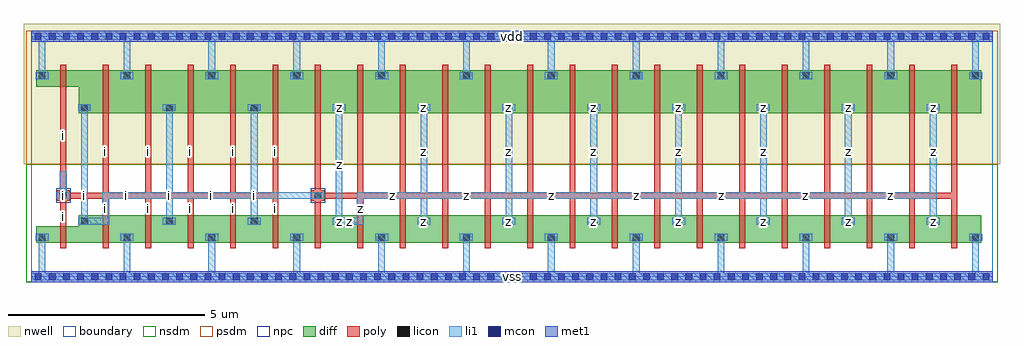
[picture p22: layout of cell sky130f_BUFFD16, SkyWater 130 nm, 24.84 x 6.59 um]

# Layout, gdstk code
import gdstk
lib = gdstk.Library(unit=1e-6, precision=1e-09)
def R(c, l, rs):  # rectangles x0, y0, x1, y1
    for r in rs: c.add(gdstk.rectangle(r[:2], r[2:], *l))
def A(c, l, x, y, w, h, nx, ny, dx, dy):  # array of equal rectangles
    R(c, l, [(x+i*dx, y+j*dy, x+i*dx+w, y+j*dy+h) for i in range(nx) for j in range(ny)])
L0_0 = (0, 0)
nwell = (64, 20)
diff = (65, 20)
poly = (66, 20)
licon = (66, 44)
li1 = (67, 20)
mcon = (67, 44)
met1 = (68, 20)
nsdm = (93, 44)
psdm = (94, 20)
npc = (95, 20)
boundary = (235, 4)

sky130f_buffd16 = lib.new_cell('sky130f_BUFFD16')
R(sky130f_buffd16, nwell, [(-0.18,2.86,24.66,6.445)])
A(sky130f_buffd16, diff, 0.135, 0.86, 0.29, 0.29, 12, 2, 2.16, 4.11)
A(sky130f_buffd16, diff, 1.215, 0.86, 1.37, 0.7, 21, 1, 1.08, 0)
A(sky130f_buffd16, diff, 1.215, 1.27, 0.29, 0.29, 11, 2, 2.16, 2.89)
A(sky130f_buffd16, diff, 1.215, 4.16, 1.37, 1.1, 21, 1, 1.08, 0)
R(sky130f_buffd16, diff, [(0.135,0.86,1.505,1.28), (0.135,4.84,1.505,5.26)])
A(sky130f_buffd16, poly, 1.825, 0.73, 0.15, 0.96, 21, 1, 1.08, 0)
A(sky130f_buffd16, poly, 1.825, 1.34, 0.15, 0.8, 21, 1, 1.08, 0)
A(sky130f_buffd16, poly, 0.745, 1.99, 1.23, 0.15, 5, 1, 1.08, 0)
A(sky130f_buffd16, poly, 1.825, 1.99, 0.15, 2.39, 21, 1, 1.08, 0)
A(sky130f_buffd16, poly, 7.225, 1.99, 1.23, 0.15, 15, 1, 1.08, 0)
A(sky130f_buffd16, poly, 1.825, 4.03, 0.15, 1.36, 21, 1, 1.08, 0)
R(sky130f_buffd16, poly, [(0.745,0.73,0.895,1.41), (0.745,0.93,0.895,2.14), (0.655,1.93,0.985,2.2), (7.135,1.93,7.465,2.2), (0.745,1.99,0.895,5.19), (0.745,4.71,0.895,5.39)])
A(sky130f_buffd16, licon, 0.195, 0.92, 0.17, 0.17, 12, 2, 2.16, 4.11)
A(sky130f_buffd16, licon, 1.275, 1.33, 0.17, 0.17, 11, 2, 2.16, 2.89)
R(sky130f_buffd16, licon, [(0.735,1.98,0.905,2.15), (7.215,1.98,7.385,2.15)])
A(sky130f_buffd16, li1, 0.195, 0.06, 0.17, 1.03, 12, 2, 2.16, 4.97)
A(sky130f_buffd16, li1, 0.115, 0.92, 0.33, 0.17, 12, 2, 2.16, 4.11)
A(sky130f_buffd16, li1, 1.195, 1.33, 0.33, 0.17, 11, 2, 2.16, 2.89)
A(sky130f_buffd16, li1, 9.915, 1.33, 0.17, 0.82, 7, 1, 2.16, 0)
A(sky130f_buffd16, li1, 9.915, 1.98, 0.17, 2.41, 7, 1, 2.16, 0)
A(sky130f_buffd16, li1, 9.915, 1.98, 2.33, 0.17, 6, 1, 2.16, 0)
R(sky130f_buffd16, li1, [(0,-0.085,24.48,0.085), (1.275,1.33,1.445,4.39), (1.275,1.33,1.985,1.5), (1.815,1.33,1.985,2.15), (3.435,1.33,3.605,2.15), (5.595,1.33,5.765,2.15), (7.755,1.33,7.925,4.39), (7.755,1.33,8.465,1.5), (8.295,1.33,8.465,2.15), (0.655,1.98,0.985,2.15), (0.735,1.98,0.905,2.69), (1.815,1.98,3.605,2.15), (3.435,1.98,3.605,4.39), (3.435,1.98,5.765,2.15), (5.595,1.98,5.765,4.39), (5.595,1.98,7.385,2.15), (7.135,1.98,7.465,2.15), (8.295,1.98,10.085,2.15), (0,6.035,24.48,6.205)])
A(sky130f_buffd16, mcon, 0.095, -0.085, 0.17, 0.17, 68, 2, 0.36, 6.12)
R(sky130f_buffd16, met1, [(0,-0.135,24.48,0.135), (0,5.985,24.48,6.255)])
R(sky130f_buffd16, nsdm, [(-0.125,-0.145,24.605,0.145), (-0.125,0.145,24.605,2.86)])
R(sky130f_buffd16, psdm, [(-0.125,2.86,24.605,5.975), (-0.125,5.975,24.605,6.265)])
R(sky130f_buffd16, npc, [(0.635,1.88,1.005,2.25), (7.115,1.88,7.485,2.25)])
R(sky130f_buffd16, boundary, [(0,0,24.48,6.12)])
sky130f_buffd16.add(gdstk.FlexPath([(0.115,0.355),(24.205,0.355)], 0, ends="flush", simple_path=True, layer=0, datatype=0))  # L0_0
sky130f_buffd16.add(gdstk.FlexPath([(0.115,1.005),(24.205,1.005)], 0, ends="flush", simple_path=True, layer=0, datatype=0))  # L0_0
sky130f_buffd16.add(gdstk.FlexPath([(0.115,1.415),(24.205,1.415)], 0, ends="flush", simple_path=True, layer=0, datatype=0))  # L0_0
sky130f_buffd16.add(gdstk.FlexPath([(0.115,2.065),(24.205,2.065)], 0, ends="flush", simple_path=True, layer=0, datatype=0))  # L0_0
sky130f_buffd16.add(gdstk.FlexPath([(0.115,2.605),(24.205,2.605)], 0, ends="flush", simple_path=True, layer=0, datatype=0))  # L0_0
sky130f_buffd16.add(gdstk.FlexPath([(0.115,3.145),(24.205,3.145)], 0, ends="flush", simple_path=True, layer=0, datatype=0))  # L0_0
sky130f_buffd16.add(gdstk.FlexPath([(0.115,4.305),(24.205,4.305)], 0, ends="flush", simple_path=True, layer=0, datatype=0))  # L0_0
sky130f_buffd16.add(gdstk.FlexPath([(0.115,4.775),(24.205,4.775)], 0, ends="flush", simple_path=True, layer=0, datatype=0))  # L0_0
sky130f_buffd16.add(gdstk.FlexPath([(0.115,5.115),(24.205,5.115)], 0, ends="flush", simple_path=True, layer=0, datatype=0))  # L0_0
sky130f_buffd16.add(gdstk.FlexPath([(0.115,5.765),(24.205,5.765)], 0, ends="flush", simple_path=True, layer=0, datatype=0))  # L0_0
sky130f_buffd16.add(gdstk.FlexPath([(0.28,0.06),(0.28,6.06)], 0, ends="flush", simple_path=True, layer=0, datatype=0))  # L0_0
sky130f_buffd16.add(gdstk.FlexPath([(0.82,0.06),(0.82,6.06)], 0, ends="flush", simple_path=True, layer=0, datatype=0))  # L0_0
sky130f_buffd16.add(gdstk.FlexPath([(1.36,0.06),(1.36,6.06)], 0, ends="flush", simple_path=True, layer=0, datatype=0))  # L0_0
sky130f_buffd16.add(gdstk.FlexPath([(1.9,0.06),(1.9,6.06)], 0, ends="flush", simple_path=True, layer=0, datatype=0))  # L0_0
sky130f_buffd16.add(gdstk.FlexPath([(2.44,0.06),(2.44,6.06)], 0, ends="flush", simple_path=True, layer=0, datatype=0))  # L0_0
sky130f_buffd16.add(gdstk.FlexPath([(2.98,0.06),(2.98,6.06)], 0, ends="flush", simple_path=True, layer=0, datatype=0))  # L0_0
sky130f_buffd16.add(gdstk.FlexPath([(3.52,0.06),(3.52,6.06)], 0, ends="flush", simple_path=True, layer=0, datatype=0))  # L0_0
sky130f_buffd16.add(gdstk.FlexPath([(4.06,0.06),(4.06,6.06)], 0, ends="flush", simple_path=True, layer=0, datatype=0))  # L0_0
sky130f_buffd16.add(gdstk.FlexPath([(4.6,0.06),(4.6,6.06)], 0, ends="flush", simple_path=True, layer=0, datatype=0))  # L0_0
sky130f_buffd16.add(gdstk.FlexPath([(5.14,0.06),(5.14,6.06)], 0, ends="flush", simple_path=True, layer=0, datatype=0))  # L0_0
sky130f_buffd16.add(gdstk.FlexPath([(5.68,0.06),(5.68,6.06)], 0, ends="flush", simple_path=True, layer=0, datatype=0))  # L0_0
sky130f_buffd16.add(gdstk.FlexPath([(6.22,0.06),(6.22,6.06)], 0, ends="flush", simple_path=True, layer=0, datatype=0))  # L0_0
sky130f_buffd16.add(gdstk.FlexPath([(6.76,0.06),(6.76,6.06)], 0, ends="flush", simple_path=True, layer=0, datatype=0))  # L0_0
sky130f_buffd16.add(gdstk.FlexPath([(7.3,0.06),(7.3,6.06)], 0, ends="flush", simple_path=True, layer=0, datatype=0))  # L0_0
sky130f_buffd16.add(gdstk.FlexPath([(7.84,0.06),(7.84,6.06)], 0, ends="flush", simple_path=True, layer=0, datatype=0))  # L0_0
sky130f_buffd16.add(gdstk.FlexPath([(8.38,0.06),(8.38,6.06)], 0, ends="flush", simple_path=True, layer=0, datatype=0))  # L0_0
sky130f_buffd16.add(gdstk.FlexPath([(8.92,0.06),(8.92,6.06)], 0, ends="flush", simple_path=True, layer=0, datatype=0))  # L0_0
sky130f_buffd16.add(gdstk.FlexPath([(9.46,0.06),(9.46,6.06)], 0, ends="flush", simple_path=True, layer=0, datatype=0))  # L0_0
sky130f_buffd16.add(gdstk.FlexPath([(10,0.06),(10,6.06)], 0, ends="flush", simple_path=True, layer=0, datatype=0))  # L0_0
sky130f_buffd16.add(gdstk.FlexPath([(10.54,0.06),(10.54,6.06)], 0, ends="flush", simple_path=True, layer=0, datatype=0))  # L0_0
sky130f_buffd16.add(gdstk.FlexPath([(11.08,0.06),(11.08,6.06)], 0, ends="flush", simple_path=True, layer=0, datatype=0))  # L0_0
sky130f_buffd16.add(gdstk.FlexPath([(11.62,0.06),(11.62,6.06)], 0, ends="flush", simple_path=True, layer=0, datatype=0))  # L0_0
sky130f_buffd16.add(gdstk.FlexPath([(12.16,0.06),(12.16,6.06)], 0, ends="flush", simple_path=True, layer=0, datatype=0))  # L0_0
sky130f_buffd16.add(gdstk.FlexPath([(12.7,0.06),(12.7,6.06)], 0, ends="flush", simple_path=True, layer=0, datatype=0))  # L0_0
sky130f_buffd16.add(gdstk.FlexPath([(13.24,0.06),(13.24,6.06)], 0, ends="flush", simple_path=True, layer=0, datatype=0))  # L0_0
sky130f_buffd16.add(gdstk.FlexPath([(13.78,0.06),(13.78,6.06)], 0, ends="flush", simple_path=True, layer=0, datatype=0))  # L0_0
sky130f_buffd16.add(gdstk.FlexPath([(14.32,0.06),(14.32,6.06)], 0, ends="flush", simple_path=True, layer=0, datatype=0))  # L0_0
sky130f_buffd16.add(gdstk.FlexPath([(14.86,0.06),(14.86,6.06)], 0, ends="flush", simple_path=True, layer=0, datatype=0))  # L0_0
sky130f_buffd16.add(gdstk.FlexPath([(15.4,0.06),(15.4,6.06)], 0, ends="flush", simple_path=True, layer=0, datatype=0))  # L0_0
sky130f_buffd16.add(gdstk.FlexPath([(15.94,0.06),(15.94,6.06)], 0, ends="flush", simple_path=True, layer=0, datatype=0))  # L0_0
sky130f_buffd16.add(gdstk.FlexPath([(16.48,0.06),(16.48,6.06)], 0, ends="flush", simple_path=True, layer=0, datatype=0))  # L0_0
sky130f_buffd16.add(gdstk.FlexPath([(17.02,0.06),(17.02,6.06)], 0, ends="flush", simple_path=True, layer=0, datatype=0))  # L0_0
sky130f_buffd16.add(gdstk.FlexPath([(17.56,0.06),(17.56,6.06)], 0, ends="flush", simple_path=True, layer=0, datatype=0))  # L0_0
sky130f_buffd16.add(gdstk.FlexPath([(18.1,0.06),(18.1,6.06)], 0, ends="flush", simple_path=True, layer=0, datatype=0))  # L0_0
sky130f_buffd16.add(gdstk.FlexPath([(18.64,0.06),(18.64,6.06)], 0, ends="flush", simple_path=True, layer=0, datatype=0))  # L0_0
sky130f_buffd16.add(gdstk.FlexPath([(19.18,0.06),(19.18,6.06)], 0, ends="flush", simple_path=True, layer=0, datatype=0))  # L0_0
sky130f_buffd16.add(gdstk.FlexPath([(19.72,0.06),(19.72,6.06)], 0, ends="flush", simple_path=True, layer=0, datatype=0))  # L0_0
sky130f_buffd16.add(gdstk.FlexPath([(20.26,0.06),(20.26,6.06)], 0, ends="flush", simple_path=True, layer=0, datatype=0))  # L0_0
sky130f_buffd16.add(gdstk.FlexPath([(20.8,0.06),(20.8,6.06)], 0, ends="flush", simple_path=True, layer=0, datatype=0))  # L0_0
sky130f_buffd16.add(gdstk.FlexPath([(21.34,0.06),(21.34,6.06)], 0, ends="flush", simple_path=True, layer=0, datatype=0))  # L0_0
sky130f_buffd16.add(gdstk.FlexPath([(21.88,0.06),(21.88,6.06)], 0, ends="flush", simple_path=True, layer=0, datatype=0))  # L0_0
sky130f_buffd16.add(gdstk.FlexPath([(22.42,0.06),(22.42,6.06)], 0, ends="flush", simple_path=True, layer=0, datatype=0))  # L0_0
sky130f_buffd16.add(gdstk.FlexPath([(22.96,0.06),(22.96,6.06)], 0, ends="flush", simple_path=True, layer=0, datatype=0))  # L0_0
sky130f_buffd16.add(gdstk.FlexPath([(23.5,0.06),(23.5,6.06)], 0, ends="flush", simple_path=True, layer=0, datatype=0))  # L0_0
sky130f_buffd16.add(gdstk.FlexPath([(24.04,0.06),(24.04,6.06)], 0, ends="flush", simple_path=True, layer=0, datatype=0))  # L0_0
sky130f_buffd16.add(gdstk.Label('z', (7.84,1.415), layer=65, texttype=20))
sky130f_buffd16.add(gdstk.Label('z', (10,1.415), layer=65, texttype=20))
sky130f_buffd16.add(gdstk.Label('z', (12.16,1.415), layer=65, texttype=20))
sky130f_buffd16.add(gdstk.Label('z', (14.32,1.415), layer=65, texttype=20))
sky130f_buffd16.add(gdstk.Label('z', (16.48,1.415), layer=65, texttype=20))
sky130f_buffd16.add(gdstk.Label('z', (18.64,1.415), layer=65, texttype=20))
sky130f_buffd16.add(gdstk.Label('z', (20.8,1.415), layer=65, texttype=20))
sky130f_buffd16.add(gdstk.Label('z', (22.96,1.415), layer=65, texttype=20))
sky130f_buffd16.add(gdstk.Label('z', (7.84,4.305), layer=65, texttype=20))
sky130f_buffd16.add(gdstk.Label('z', (10,4.305), layer=65, texttype=20))
sky130f_buffd16.add(gdstk.Label('z', (12.16,4.305), layer=65, texttype=20))
sky130f_buffd16.add(gdstk.Label('z', (14.32,4.305), layer=65, texttype=20))
sky130f_buffd16.add(gdstk.Label('z', (16.48,4.305), layer=65, texttype=20))
sky130f_buffd16.add(gdstk.Label('z', (18.64,4.305), layer=65, texttype=20))
sky130f_buffd16.add(gdstk.Label('z', (20.8,4.305), layer=65, texttype=20))
sky130f_buffd16.add(gdstk.Label('z', (22.96,4.305), layer=65, texttype=20))
sky130f_buffd16.add(gdstk.Label('i', (0.82,1.535), layer=66, texttype=20))
sky130f_buffd16.add(gdstk.Label('i', (1.36,2.065), layer=66, texttype=20))
sky130f_buffd16.add(gdstk.Label('i', (1.9,1.74), layer=66, texttype=20))
sky130f_buffd16.add(gdstk.Label('i', (2.44,2.065), layer=66, texttype=20))
sky130f_buffd16.add(gdstk.Label('i', (2.98,1.74), layer=66, texttype=20))
sky130f_buffd16.add(gdstk.Label('i', (3.52,2.065), layer=66, texttype=20))
sky130f_buffd16.add(gdstk.Label('i', (4.06,1.74), layer=66, texttype=20))
sky130f_buffd16.add(gdstk.Label('i', (4.6,2.065), layer=66, texttype=20))
sky130f_buffd16.add(gdstk.Label('i', (5.14,1.74), layer=66, texttype=20))
sky130f_buffd16.add(gdstk.Label('i', (5.68,2.065), layer=66, texttype=20))
sky130f_buffd16.add(gdstk.Label('i', (6.22,1.74), layer=66, texttype=20))
sky130f_buffd16.add(gdstk.Label('i', (0.82,3.59), layer=66, texttype=20))
sky130f_buffd16.add(gdstk.Label('i', (1.9,3.185), layer=66, texttype=20))
sky130f_buffd16.add(gdstk.Label('i', (2.98,3.185), layer=66, texttype=20))
sky130f_buffd16.add(gdstk.Label('i', (4.06,3.185), layer=66, texttype=20))
sky130f_buffd16.add(gdstk.Label('i', (5.14,3.185), layer=66, texttype=20))
sky130f_buffd16.add(gdstk.Label('i', (6.22,3.185), layer=66, texttype=20))
sky130f_buffd16.add(gdstk.Label('i', (0.82,2.065), layer=66, texttype=20))
sky130f_buffd16.add(gdstk.Label('z', (7.84,1.415), layer=66, texttype=44))
sky130f_buffd16.add(gdstk.Label('z', (10,1.415), layer=66, texttype=44))
sky130f_buffd16.add(gdstk.Label('z', (12.16,1.415), layer=66, texttype=44))
sky130f_buffd16.add(gdstk.Label('z', (14.32,1.415), layer=66, texttype=44))
sky130f_buffd16.add(gdstk.Label('z', (16.48,1.415), layer=66, texttype=44))
sky130f_buffd16.add(gdstk.Label('z', (18.64,1.415), layer=66, texttype=44))
sky130f_buffd16.add(gdstk.Label('z', (20.8,1.415), layer=66, texttype=44))
sky130f_buffd16.add(gdstk.Label('z', (22.96,1.415), layer=66, texttype=44))
sky130f_buffd16.add(gdstk.Label('z', (7.84,4.305), layer=66, texttype=44))
sky130f_buffd16.add(gdstk.Label('z', (10,4.305), layer=66, texttype=44))
sky130f_buffd16.add(gdstk.Label('z', (12.16,4.305), layer=66, texttype=44))
sky130f_buffd16.add(gdstk.Label('z', (14.32,4.305), layer=66, texttype=44))
sky130f_buffd16.add(gdstk.Label('z', (16.48,4.305), layer=66, texttype=44))
sky130f_buffd16.add(gdstk.Label('z', (18.64,4.305), layer=66, texttype=44))
sky130f_buffd16.add(gdstk.Label('z', (20.8,4.305), layer=66, texttype=44))
sky130f_buffd16.add(gdstk.Label('z', (22.96,4.305), layer=66, texttype=44))
sky130f_buffd16.add(gdstk.Label('i', (0.82,2.065), layer=66, texttype=44))
sky130f_buffd16.add(gdstk.Label('i', (0.82,2.065), layer=67, texttype=5))
sky130f_buffd16.add(gdstk.Label('i', (0.82,2.335), layer=67, texttype=5))
sky130f_buffd16.add(gdstk.Label('z', (7.84,1.415), layer=67, texttype=5))
sky130f_buffd16.add(gdstk.Label('z', (10,1.415), layer=67, texttype=5))
sky130f_buffd16.add(gdstk.Label('z', (12.16,1.415), layer=67, texttype=5))
sky130f_buffd16.add(gdstk.Label('z', (14.32,1.415), layer=67, texttype=5))
sky130f_buffd16.add(gdstk.Label('z', (16.48,1.415), layer=67, texttype=5))
sky130f_buffd16.add(gdstk.Label('z', (18.64,1.415), layer=67, texttype=5))
sky130f_buffd16.add(gdstk.Label('z', (20.8,1.415), layer=67, texttype=5))
sky130f_buffd16.add(gdstk.Label('z', (22.96,1.415), layer=67, texttype=5))
sky130f_buffd16.add(gdstk.Label('z', (7.84,4.305), layer=67, texttype=5))
sky130f_buffd16.add(gdstk.Label('z', (10,4.305), layer=67, texttype=5))
sky130f_buffd16.add(gdstk.Label('z', (12.16,4.305), layer=67, texttype=5))
sky130f_buffd16.add(gdstk.Label('z', (14.32,4.305), layer=67, texttype=5))
sky130f_buffd16.add(gdstk.Label('z', (16.48,4.305), layer=67, texttype=5))
sky130f_buffd16.add(gdstk.Label('z', (18.64,4.305), layer=67, texttype=5))
sky130f_buffd16.add(gdstk.Label('z', (20.8,4.305), layer=67, texttype=5))
sky130f_buffd16.add(gdstk.Label('z', (22.96,4.305), layer=67, texttype=5))
sky130f_buffd16.add(gdstk.Label('z', (8.11,1.415), layer=67, texttype=5))
sky130f_buffd16.add(gdstk.Label('z', (8.38,1.74), layer=67, texttype=5))
sky130f_buffd16.add(gdstk.Label('z', (9.19,2.065), layer=67, texttype=5))
sky130f_buffd16.add(gdstk.Label('z', (10,1.74), layer=67, texttype=5))
sky130f_buffd16.add(gdstk.Label('z', (11.08,2.065), layer=67, texttype=5))
sky130f_buffd16.add(gdstk.Label('z', (12.16,1.74), layer=67, texttype=5))
sky130f_buffd16.add(gdstk.Label('z', (13.24,2.065), layer=67, texttype=5))
sky130f_buffd16.add(gdstk.Label('z', (14.32,1.74), layer=67, texttype=5))
sky130f_buffd16.add(gdstk.Label('z', (15.4,2.065), layer=67, texttype=5))
sky130f_buffd16.add(gdstk.Label('z', (16.48,1.74), layer=67, texttype=5))
sky130f_buffd16.add(gdstk.Label('z', (17.56,2.065), layer=67, texttype=5))
sky130f_buffd16.add(gdstk.Label('z', (18.64,1.74), layer=67, texttype=5))
sky130f_buffd16.add(gdstk.Label('z', (19.72,2.065), layer=67, texttype=5))
sky130f_buffd16.add(gdstk.Label('z', (20.8,1.74), layer=67, texttype=5))
sky130f_buffd16.add(gdstk.Label('z', (21.88,2.065), layer=67, texttype=5))
sky130f_buffd16.add(gdstk.Label('z', (22.96,1.74), layer=67, texttype=5))
sky130f_buffd16.add(gdstk.Label('z', (7.84,2.86), layer=67, texttype=5))
sky130f_buffd16.add(gdstk.Label('z', (10,3.185), layer=67, texttype=5))
sky130f_buffd16.add(gdstk.Label('z', (12.16,3.185), layer=67, texttype=5))
sky130f_buffd16.add(gdstk.Label('z', (14.32,3.185), layer=67, texttype=5))
sky130f_buffd16.add(gdstk.Label('z', (16.48,3.185), layer=67, texttype=5))
sky130f_buffd16.add(gdstk.Label('z', (18.64,3.185), layer=67, texttype=5))
sky130f_buffd16.add(gdstk.Label('z', (20.8,3.185), layer=67, texttype=5))
sky130f_buffd16.add(gdstk.Label('z', (22.96,3.185), layer=67, texttype=5))
sky130f_buffd16.add(gdstk.Label('vss', (12.24,0), layer=67, texttype=5))
sky130f_buffd16.add(gdstk.Label('vdd', (12.24,6.12), layer=67, texttype=5))
sky130f_buffd16.add(gdstk.Label('vss', (12.24,0), layer=68, texttype=5))
sky130f_buffd16.add(gdstk.Label('vdd', (12.24,6.12), layer=68, texttype=5))

lib.write_gds('sky130f_BUFFD16.gds')
